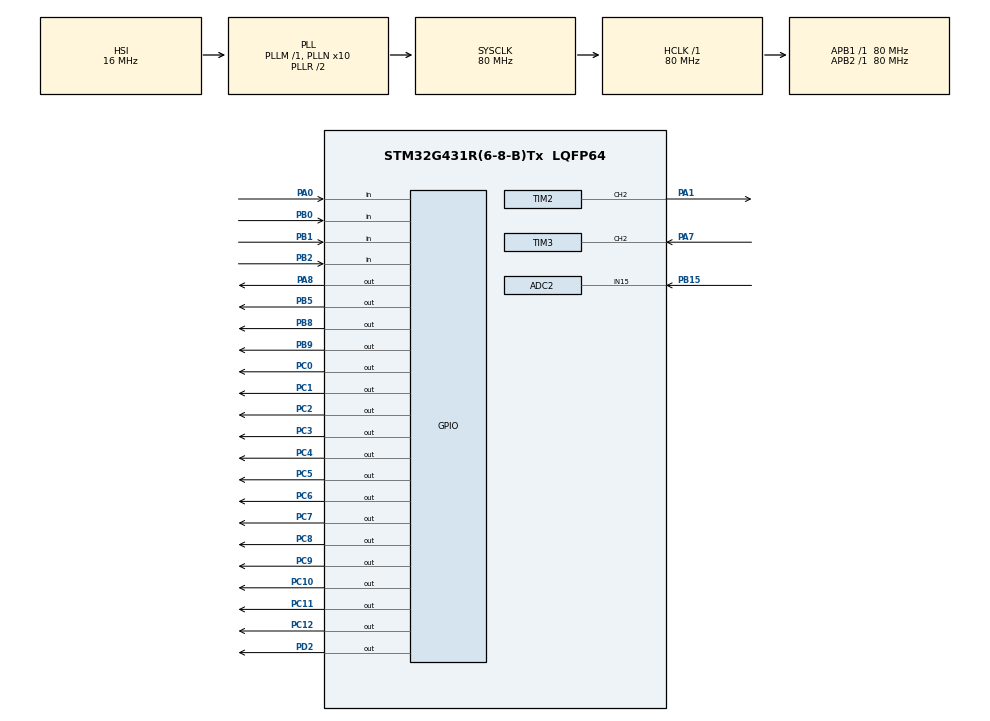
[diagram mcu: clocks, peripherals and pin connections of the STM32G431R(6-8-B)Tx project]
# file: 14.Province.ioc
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ADC2.Channel-0\#ChannelRegularConversion=ADC_CHANNEL_15
ADC2.NbrOfConversionFlag=1
ADC2.OffsetNumber-0\#ChannelRegularConversion=ADC_OFFSET_NONE
ADC2.Rank-0\#ChannelRegularConversion=1
ADC2.SamplingTime-0\#ChannelRegularConversion=ADC_SAMPLETIME_2CYCLES_5
Mcu.Family=STM32G4
Mcu.Name=STM32G431R(6-8-B)Tx
Mcu.Package=LQFP64
NVIC.PriorityGroup=NVIC_PRIORITYGROUP_4
NVIC.TIM1_UP_TIM16_IRQn=true\:0\:0\:false\:false\:true\:true\:true\:true
NVIC.TIM3_IRQn=true\:0\:0\:false\:false\:true\:true\:true\:true
PA0.Signal=GPIO_Input
PA1.Signal=S_TIM2_CH2
PA13.Mode=Serial_Wire
PA13.Signal=SYS_JTMS-SWDIO
PA14.Mode=Serial_Wire
PA14.Signal=SYS_JTCK-SWCLK
PA7.Signal=S_TIM3_CH2
PA8.Signal=GPIO_Output
PB0.Signal=GPIO_Input
PB1.Signal=GPIO_Input
PB15.Mode=IN15-Single-Ended
PB15.Signal=ADC2_IN15
PB2.Signal=GPIO_Input
PB5.Signal=GPIO_Output
PB8-BOOT0.Signal=GPIO_Output
PB9.Signal=GPIO_Output
PC0.Signal=GPIO_Output
PC1.Signal=GPIO_Output
PC10.Signal=GPIO_Output
PC11.Signal=GPIO_Output
PC12.Signal=GPIO_Output
PC2.Signal=GPIO_Output
PC3.Signal=GPIO_Output
PC4.Signal=GPIO_Output
PC5.Signal=GPIO_Output
PC6.Signal=GPIO_Output
PC7.Signal=GPIO_Output
PC8.Signal=GPIO_Output
PC9.Signal=GPIO_Output
PD2.Signal=GPIO_Output
PF0-OSC_IN.Mode=HSE-External-Oscillator
PF0-OSC_IN.Signal=RCC_OSC_IN
PF1-OSC_OUT.Mode=HSE-External-Oscillator
PF1-OSC_OUT.Signal=RCC_OSC_OUT
ProjectManager.HeapSize=0x200
ProjectManager.StackSize=0x400
ProjectManager.TargetToolchain=MDK-ARM V5.32
RCC.ADC12Freq_Value=80000000
RCC.AHBFreq_Value=80000000
RCC.APB1Freq_Value=80000000
RCC.APB1TimFreq_Value=80000000
RCC.APB2Freq_Value=80000000
RCC.APB2TimFreq_Value=80000000
RCC.CortexFreq_Value=80000000
RCC.EXTERNAL_CLOCK_VALUE=12288000
RCC.HCLKFreq_Value=80000000
RCC.HSE_VALUE=8000000
RCC.HSI48_VALUE=48000000
RCC.HSI_VALUE=16000000
RCC.LSE_VALUE=32768
RCC.PLLN=10
RCC.SYSCLKFreq_VALUE=80000000
RCC.SYSCLKSource=RCC_SYSCLKSOURCE_PLLCLK
RCC.USBFreq_Value=80000000
RCC.VCOOutputFreq_Value=160000000
SH.S_TIM2_CH2.0=TIM2_CH2,PWM Generation2 CH2
SH.S_TIM3_CH2.0=TIM3_CH2,Input_Capture2_from_TI2
SH.S_TIM3_CH2.1=TIM3_CH2,TriggerSource_TI2FP2
TIM1.AutoReloadPreload=TIM_AUTORELOAD_PRELOAD_ENABLE
TIM1.PeriodNoDither=10000-1
TIM1.Prescaler=80-1
TIM2.Channel-PWM\ Generation2\ CH2=TIM_CHANNEL_2
TIM2.PeriodNoDither=100-1
TIM2.Prescaler=200-1
TIM2.PulseNoDither_2=10
TIM3.AutoReloadPreload=TIM_AUTORELOAD_PRELOAD_ENABLE
TIM3.Channel-Input_Capture2_from_TI2=TIM_CHANNEL_2
TIM3.ICPolarity_CH2=TIM_INPUTCHANNELPOLARITY_RISING
TIM3.Prescaler=0
VP_SYS_VS_DBSignals.Mode=DisableDeadBatterySignals
VP_TIM1_VS_ClockSourceINT.Mode=Internal
VP_TIM2_VS_ClockSourceINT.Mode=Internal
VP_TIM3_VS_ClockSourceINT.Mode=Internal
VP_TIM3_VS_ControllerModeReset.Mode=Reset Mode
board=custom

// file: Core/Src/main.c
/* USER CODE BEGIN Header */
/**
  ******************************************************************************
  * @file           : main.c
  * @brief          : Main program body
  ******************************************************************************
  * @attention
  *
  * Copyright (c) 2024 STMicroelectronics.
  * All rights reserved.
  *
  * This software is licensed under terms that can be found in the LICENSE file
  * in the root directory of this software component.
  * If no LICENSE file comes with this software, it is provided AS-IS.
  *
  ******************************************************************************
  */
/* USER CODE END Header */
#include "main.h"
#include "adc.h"
#include "tim.h"
#include "gpio.h"

/* USER CODE BEGIN Includes */
#include "lcd.h"
#include "string.h"
#include "stdio.h"
#include "interrupt.h"
/* USER CODE END Includes */

/* USER CODE BEGIN PTD */
extern double frq;
extern struct keys key[4];
extern int x,y;
extern int HZ_sta;
extern int q,w,MH,R;
/* USER CODE END PTD */

void SystemClock_Config(void);

/* USER CODE BEGIN 0 */
double getADC(ADC_HandleTypeDef *hadc)
{
	unsigned int value = 0;
	HAL_ADC_Start(hadc);
	value = HAL_ADC_GetValue(hadc);
	return value*3.3/4096;
}
void LED_Disp(int dsLED)
{
	HAL_GPIO_WritePin(GPIOC,GPIO_PIN_All,GPIO_PIN_SET);
	HAL_GPIO_WritePin(GPIOC,dsLED<<8,GPIO_PIN_RESET);//
	HAL_GPIO_WritePin(GPIOD,GPIO_PIN_2,GPIO_PIN_SET);
	HAL_GPIO_WritePin(GPIOD,GPIO_PIN_2,GPIO_PIN_RESET);
}
int B4_DATA()
{
	static int i=1;
	if(get_key_stat(3)==3)
	{
		set_key_stat(3,0);
		i=0;
	}
	if(get_key_stat(3)==1)
	{
		set_key_stat(3,0);
		i=1;
	}
	return i;
}
int Duty()
{
	double value=getADC(&hadc2);
	static int duty;
	if(B4_DATA())
	{
		if(value<=1)		{duty=10;}
		else if(value>=3)	{duty=85;}
		else
		{
			duty=37.5*value-27.5;
		}
	}
	return duty;
}

char  B2_DATA()
{
	if(get_key_stat(1))
	{
		set_key_stat(1,0);
		if(!x)
		{
			HZ_sta++;
			x=1;
		}
	}
	if(HZ_sta%2){	return 'H';}
	else   		{	return 'L';}
}
int B2_PARA()
{
	static int i=0;
	if(get_key_stat(1))
	{
		set_key_stat(1,0);
		i++;
	}
	if(i%2)return 0;
	else   return 1;
}

int K=1;

void B3_PARA()
{
	if(B2_PARA())
	{
		if(get_key_stat(2))
		{
			set_key_stat(2,0);
			if(R<10){R++;q=1;w=0;}
			else R=1;

		}
		else if(get_key_stat(3))
		{
			set_key_stat(3,0);
			if(R>1){R--;}
			else{R=10;}
		}
	}
	else
	{
		if(get_key_stat(2))
		{
			set_key_stat(2,0);
			if(K<10){K++;}
			else K=1;

		}
		else if(get_key_stat(3))
		{
			set_key_stat(3,0);
			if(K>1){K--;}
			else{K=10;}
		}
	}
}

void DATA()
{
	unsigned char str[15];
	char a;
	LCD_DisplayStringLine(Line1,(u8 *)"        DATA");
	B2_DATA();
	sprintf((char *)str,"     M=%c    ",B2_DATA());
	LCD_DisplayStringLine(Line3,str);
	sprintf((char *)str,"     P=%d%%   ",Duty());
	LCD_DisplayStringLine(Line4,str);
	double v=frq*R* 6.28/100/K;
	sprintf((char *)str,"     V=%.1f     ",v);
	LCD_DisplayStringLine(Line5,str);
}
void PARA()
{
	unsigned char str[15];
	int s=1;
	LCD_DisplayStringLine(Line1,(u8 *)"        PARA");
	B3_PARA();
	sprintf((char *)str,"     R=%d  ",R);
	LCD_DisplayStringLine(Line3,str);
	sprintf((char *)str,"     K=%d  ",K);
	LCD_DisplayStringLine(Line4,str);
}
void RECD()
{
	unsigned char str[15];
	int s=1;
	LCD_DisplayStringLine(Line1,(u8 *)"        RECD");
	sprintf((char *)str,"     N=%d",HZ_sta);
	LCD_DisplayStringLine(Line3,str);
	int v1=frq*MH* 6.28/100/K;
	sprintf((char *)str,"     MH=%d",v1);
	LCD_DisplayStringLine(Line4,str);
	int v2=frq*MH* 6.28/100/K;
	sprintf((char *)str,"     ML=%d",v2);
	LCD_DisplayStringLine(Line5,str);
}
int Sreen()
{
	static int sreen=0;
	if(get_key_stat(0)==1)
	{
		LCD_Clear(Black);
		set_key_stat(0,0);
		sreen++;
		sreen%=3;
	}
	return sreen;
}

/* USER CODE END 0 */

int main(void)
{

  /* MCU Configuration--------------------------------------------------------*/

  /* Reset of all peripherals, Initializes the Flash interface and the Systick. */
  HAL_Init();

  /* Configure the system clock */
  SystemClock_Config();

  /* Initialize all configured peripherals */
  MX_GPIO_Init();
  MX_ADC2_Init();
  MX_TIM1_Init();
  MX_TIM2_Init();
  MX_TIM3_Init();
  /* USER CODE BEGIN 2 */
	LCD_Init();
  	LCD_Clear(Black);
	LCD_SetTextColor(White);
	LCD_SetBackColor(Black);
	HAL_ADCEx_Calibration_Start(&hadc2,ADC_SINGLE_ENDED);
	HAL_TIM_Base_Start_IT(&htim1);
	HAL_TIM_PWM_Start(&htim2,TIM_CHANNEL_2);
	HAL_TIM_IC_Start_IT(&htim3,TIM_CHANNEL_2);
	LED_Disp(0x00);
  /* USER CODE END 2 */

  /* Infinite loop */
  while (1)
  {

    /* USER CODE BEGIN 3 */
	  switch(Sreen())
	  {
		  case 0:
			  DATA();break;
		  case 1:
			  PARA();break;
		  case 2:
			  RECD();break;
	  }

  }
  /* USER CODE END 3 */
}

void SystemClock_Config(void)
{
  RCC_OscInitTypeDef RCC_OscInitStruct = {0};
  RCC_ClkInitTypeDef RCC_ClkInitStruct = {0};

  /** Configure the main internal regulator output voltage
  */
  HAL_PWREx_ControlVoltageScaling(PWR_REGULATOR_VOLTAGE_SCALE1);

  /** Initializes the RCC Oscillators according to the specified parameters
  * in the RCC_OscInitTypeDef structure.
  */
  RCC_OscInitStruct.OscillatorType = RCC_OSCILLATORTYPE_HSI;
  RCC_OscInitStruct.HSIState = RCC_HSI_ON;
  RCC_OscInitStruct.HSICalibrationValue = RCC_HSICALIBRATION_DEFAULT;
  RCC_OscInitStruct.PLL.PLLState = RCC_PLL_ON;
  RCC_OscInitStruct.PLL.PLLSource = RCC_PLLSOURCE_HSI;
  RCC_OscInitStruct.PLL.PLLM = RCC_PLLM_DIV1;
  RCC_OscInitStruct.PLL.PLLN = 10;
  RCC_OscInitStruct.PLL.PLLP = RCC_PLLP_DIV2;
  RCC_OscInitStruct.PLL.PLLQ = RCC_PLLQ_DIV2;
  RCC_OscInitStruct.PLL.PLLR = RCC_PLLR_DIV2;
  if (HAL_RCC_OscConfig(&RCC_OscInitStruct) != HAL_OK)
  {
    Error_Handler();
  }

  /** Initializes the CPU, AHB and APB buses clocks
  */
  RCC_ClkInitStruct.ClockType = RCC_CLOCKTYPE_HCLK|RCC_CLOCKTYPE_SYSCLK
                              |RCC_CLOCKTYPE_PCLK1|RCC_CLOCKTYPE_PCLK2;
  RCC_ClkInitStruct.SYSCLKSource = RCC_SYSCLKSOURCE_PLLCLK;
  RCC_ClkInitStruct.AHBCLKDivider = RCC_SYSCLK_DIV1;
  RCC_ClkInitStruct.APB1CLKDivider = RCC_HCLK_DIV1;
  RCC_ClkInitStruct.APB2CLKDivider = RCC_HCLK_DIV1;

  if (HAL_RCC_ClockConfig(&RCC_ClkInitStruct, FLASH_LATENCY_2) != HAL_OK)
  {
    Error_Handler();
  }
}

void Error_Handler(void)
{
  __disable_irq();
  while (1)
  {
  }
}
